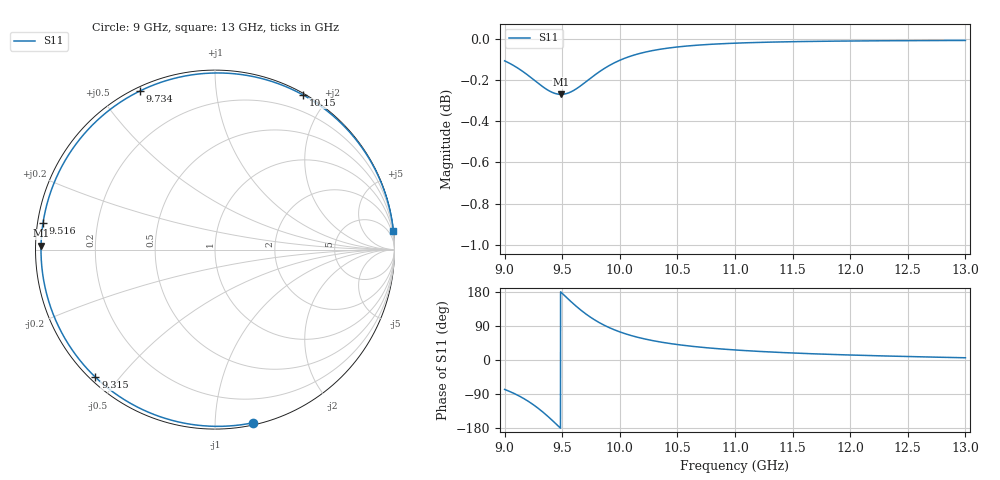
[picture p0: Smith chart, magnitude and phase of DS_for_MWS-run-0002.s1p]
! TOUCHSTONE file generated by CST DESIGN STUDIO
! Date and time: Tue Feb  4 18:01:59 2025
! Project name: C:\Work\MatlabApps\UnitCellOptimizationMatlab\CST\unitcell.cst
! Tree item: Tasks\Sweep1\SPara1\S-Parameters
! Header version: 2024
! Port assignment regex: !\s*Touchstone port\s*([0-9]+)\s*=\s*(CST MWS port|CST DES external port|CST DES block port)\s*(.+)\s* \(\"(.*)\"\)(\s*mode\s*([0-9]+))?.*
! Touchstone port assignment:
! Touchstone port 1 = CST DES external port 1 ("")
# GHz S MA R 50
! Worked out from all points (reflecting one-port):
!   4001 points, 9 GHz to 13 GHz, reference 50 ohm
!   lowest |S11| = -0.3 dB at 9.49 GHz (marker M1), VSWR 64.52, Z = 0.775 + j0.567 ohm
!   phase of S11 starts at -78 deg and turns -277 deg over the sweep
!   S11 on the Smith chart (normalised r, x): 9 GHz: 0.02, -1.24; 9.315 GHz: 0.02, -0.43; 9.516 GHz: 0.02, +0.08; 9.734 GHz: 0.02, +0.63; 10.15 GHz: 0.02, +1.72; 13 GHz: 0, +19
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9  0.9878 -77.6
9.08  0.9852 -88.0
9.18  0.981 -104.2
9.25  0.9776 -118.1
9.315  0.9744 -133.1
9.361  0.9724 -144.9
9.41  0.9706 -158.3
9.451  0.9698 -170.0
9.49  0.9695 178.7
9.5  0.9695 175.8
9.516  0.9696 171.1
9.569  0.9706 156.0
9.629  0.9728 139.9
9.681  0.9751 127.1
9.734  0.9777 115.3
9.788  0.9803 104.7
9.848  0.9829 94.4
9.923  0.9858 83.5
10  0.9882 74.2
10.15  0.9915 60.3
10.309  0.9938 49.8
10.5  0.9955 40.8
10.722  0.9968 33.2
11  0.9977 26.5
11.5  0.9985 18.5
12  0.9989 13.2
12.5  0.9991 9.1
13  0.9992 5.9
